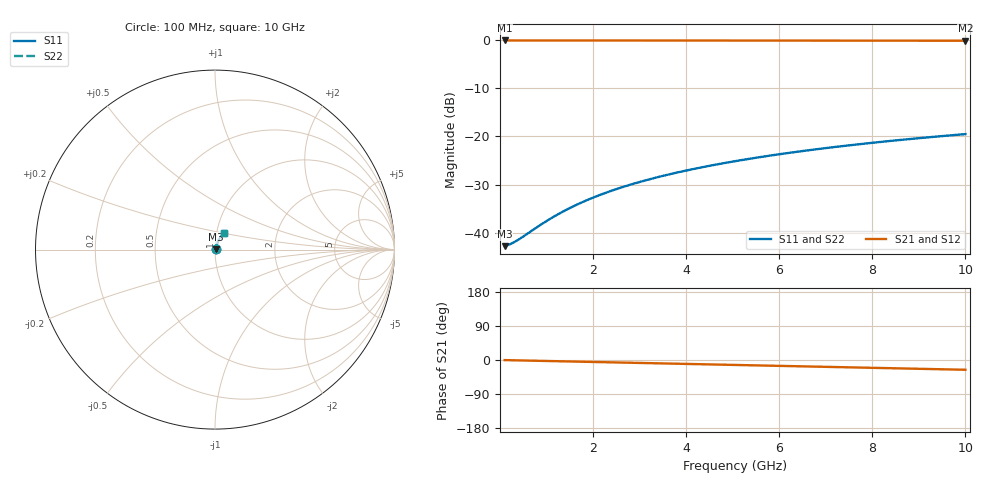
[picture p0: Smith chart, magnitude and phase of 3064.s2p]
# Hz S RI R 50.00
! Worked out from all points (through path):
!   100 points, 100 MHz to 10 GHz, reference 50 ohm
!   highest |S21| = -0.06 dB at 100 MHz (marker M1); lowest = -0.1 dB at 10 GHz (marker M2)
!   group delay of S21, straight-line fit = 7.16 ps
!   lowest |S11| = -42.8 dB at 100 MHz (marker M3), VSWR 1.01, Z = 50.7 + j0.108 ohm
!   |S11| at or under -10 dB: start of sweep to end of sweep
!   |S22| runs from -42.8 to -19.5 dB; largest |S21 - S12| = 0
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1e8  0.00716 0.00106  0.9928 -0.00448  0.9928 -0.00448  0.00716 0.00106
2e8  0.00722 0.00213  0.9927 -0.00895  0.9927 -0.00895  0.00722 0.00213
3e8  0.00728 0.00319  0.9927 -0.0134  0.9927 -0.0134  0.00728 0.00319
4e8  0.00734 0.00425  0.9926 -0.0179  0.9926 -0.0179  0.00734 0.00425
9e8  0.00774 0.00955  0.9918 -0.0403  0.9918 -0.0403  0.00774 0.00955
1.2e9  0.00809 0.0127  0.991 -0.0537  0.991 -0.0537  0.00809 0.0127
1.5e9  0.00851 0.0159  0.9901 -0.0671  0.9901 -0.0671  0.00851 0.0159
1.8e9  0.00901 0.019  0.989 -0.0804  0.989 -0.0804  0.00901 0.019
2.1e9  0.0096 0.0222  0.9878 -0.0938  0.9878 -0.0938  0.0096 0.0222
2.5e9  0.0105 0.0263  0.9858 -0.1116  0.9858 -0.1116  0.0105 0.0263
2.9e9  0.0116 0.0304  0.9834 -0.1293  0.9834 -0.1293  0.0116 0.0304
3.4e9  0.0131 0.0355  0.98 -0.1514  0.98 -0.1514  0.0131 0.0355
3.8e9  0.0145 0.0395  0.9769 -0.169  0.9769 -0.169  0.0145 0.0395
4.2e9  0.016 0.0434  0.9735 -0.1865  0.9735 -0.1865  0.016 0.0434
4.6e9  0.0177 0.0473  0.9698 -0.204  0.9698 -0.204  0.0177 0.0473
5.1e9  0.02 0.0521  0.9646 -0.2257  0.9646 -0.2257  0.02 0.0521
5.9e9  0.0241 0.0595  0.9554 -0.2601  0.9554 -0.2601  0.0241 0.0595
6.7e9  0.0287 0.0666  0.9448 -0.2941  0.9448 -0.2941  0.0287 0.0666
7.5e9  0.0338 0.0733  0.933 -0.3276  0.933 -0.3276  0.0338 0.0733
8.4e9  0.0401 0.0804  0.9182 -0.3647  0.9182 -0.3647  0.0401 0.0804
9.2e9  0.0461 0.0862  0.9039 -0.3971  0.9039 -0.3971  0.0461 0.0862
1e10  0.0526 0.0916  0.8883 -0.4288  0.8883 -0.4288  0.0526 0.0916
